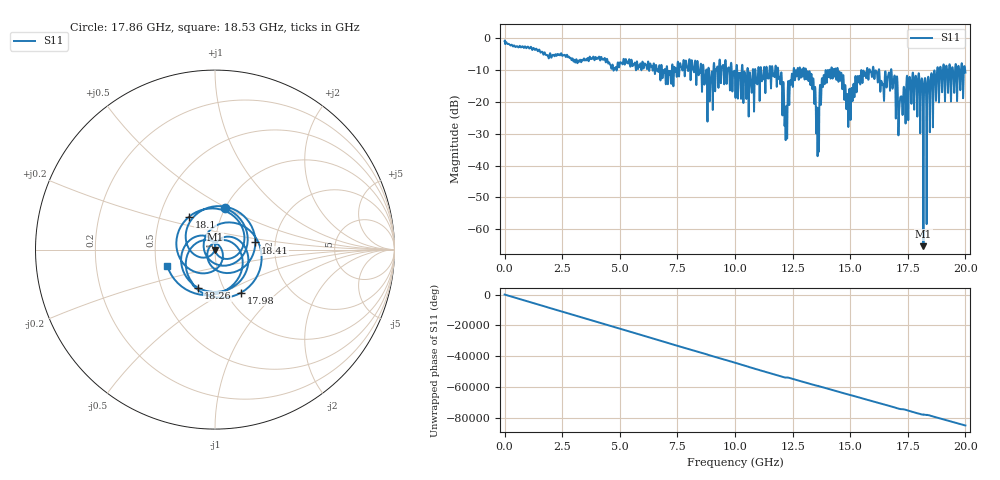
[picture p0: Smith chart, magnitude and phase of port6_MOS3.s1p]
! MS46122B
! 2250307/22442219
! 6/15/2025 11:06:16 AM
! C:\USERS\SPARKY\DOCUMENTS\VNA_DATA\JUNE15_2025\295K\PORT6_MOS3.S1P
! CHANNEL.1
! TR.MEASUREMENT
! RAW.DATA
# GHZ S RI R 50.0
! FREQ.GHZ  S11RE  S11IM
!; PortSelection: Port_1
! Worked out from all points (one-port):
!   10001 points, 1 MHz to 20 GHz, reference 50 ohm
!   lowest |S11| = -65.3 dB at 18.18 GHz (marker M1), VSWR 1.00, Z = 50.1 + j0.021 ohm
!   |S11| at or under -10 dB: 13.08 GHz to 14.1 GHz (1.022 GHz wide, 7.52 % of centre); 14.46 GHz to 15.72 GHz (1.263 GHz wide, 8.37 % of centre); 16.79 GHz to 18.77 GHz (1.983 GHz wide, 11.2 % of centre) (the widest 3 of 74)
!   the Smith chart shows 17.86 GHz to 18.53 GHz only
!   S11 on the Smith chart (normalised r, x): 17.86 GHz: 0.99, +0.49; 17.98 GHz: 1.17, -0.61; 18.1 GHz: 0.70, +0.27; 18.26 GHz: 0.76, -0.34; 18.41 GHz: 1.57, +0.13; 18.53 GHz: 0.57, -0.11
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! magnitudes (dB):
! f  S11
! 1 MHz  -1.0
! 2.501 GHz  -5.6
! 5.001 GHz  -8.0
! 7.501 GHz  -8.7
! 10 GHz  -12.4
! 11.83 GHz  -11.6
! 12.2 GHz  -31.2
! 12.5 GHz  -14.3
! 13.24 GHz  -10.5
! 13.58 GHz  -29.2
! 13.77 GHz  -12.7
! 14.11 GHz  -10.0
! 14.53 GHz  -10.5
! 15 GHz  -21.2
! 15.92 GHz  -11.1
! 16.39 GHz  -14.6
! 16.85 GHz  -15.1
! 17.18 GHz  -18.4
! 17.5 GHz  -16.3
! 17.86 GHz  -12.5
! 17.98 GHz  -11.0
! 18.1 GHz  -12.6
! 18.18 GHz  -65.3
! 18.26 GHz  -12.7
! 18.41 GHz  -12.8
! 18.53 GHz  -11.0
! 18.98 GHz  -16.9
! 20 GHz  -10.8
